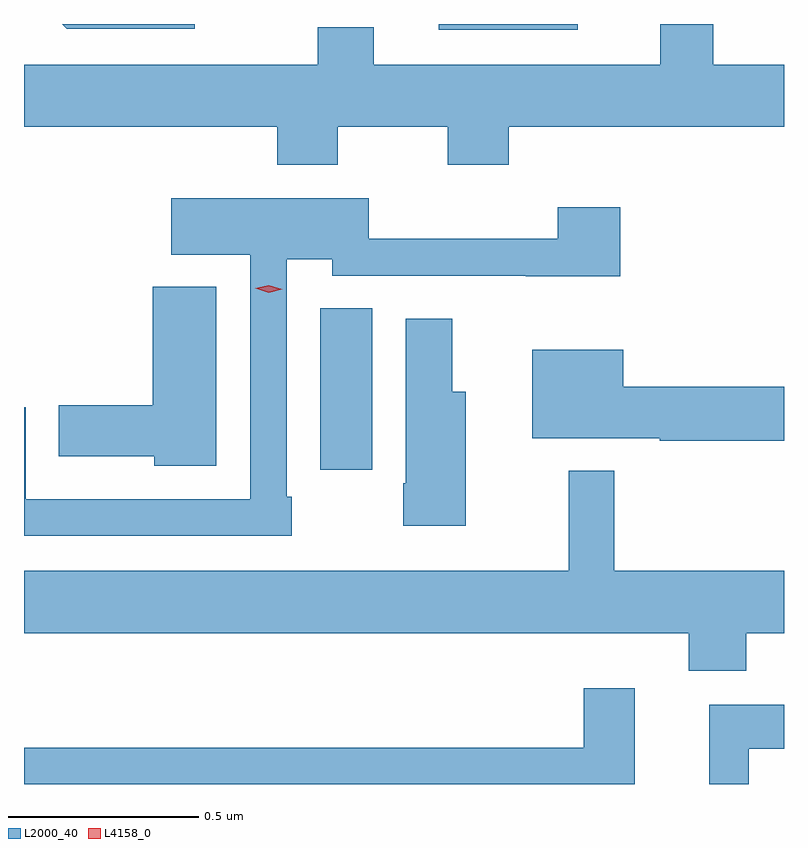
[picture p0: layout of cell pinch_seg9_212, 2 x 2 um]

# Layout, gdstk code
import gdstk
lib = gdstk.Library(unit=1e-6, precision=1e-09)
def R(c, l, rs):  # rectangles x0, y0, x1, y1
    for r in rs: c.add(gdstk.rectangle(r[:2], r[2:], *l))
def P(c, l, *ps):  # polygons
    for p in ps: c.add(gdstk.Polygon(p, *l))
L2000_40 = (2000, 40)
L4158_0 = (4158, 0)

pinch_seg9_212 = lib.new_cell('pinch_seg9_212')
R(pinch_seg9_212, L2000_40, [(623.123,1215.498,623.26,1215.923), (623.435,1216.656,623.8,1216.671)])
P(pinch_seg9_212, L2000_40, [(623.169,1216.4),(623.458,1216.4),(623.458,1216.301),(623.618,1216.301),(623.618,1216.4),(624.343,1216.4),(624.343,1216.564),(624.157,1216.564),(624.157,1216.671),(624.017,1216.671),(624.017,1216.564),(623.263,1216.564),(623.263,1216.663),(623.116,1216.663),(623.116,1216.564),(622.343,1216.564),(622.343,1216.4),(623.009,1216.4),(623.009,1216.301),(623.169,1216.301)],
  [(622.792,1216.671),(622.443,1216.671),(622.455,1216.659),(622.792,1216.659)],
  [(623.047,1215.427),(623.034,1215.427),(623.034,1216.052),(623.154,1216.052),(623.154,1216.008),(623.663,1216.008),(623.663,1216.007),(623.912,1216.007),(623.912,1216.189),(623.747,1216.189),(623.747,1216.106),(623.25,1216.106),(623.25,1216.213),(622.731,1216.213),(622.731,1216.064),(622.938,1216.064),(622.938,1215.42),(622.347,1215.42),(622.347,1215.662),(622.343,1215.662),(622.343,1215.324),(623.047,1215.324)],
  [(622.849,1215.979),(622.682,1215.979),(622.682,1215.668),(622.434,1215.668),(622.434,1215.533),(622.686,1215.533),(622.686,1215.509),(622.849,1215.509)],
  [(623.506,1215.703),(623.47,1215.703),(623.47,1215.895),(623.348,1215.895),(623.348,1215.463),(623.341,1215.463),(623.341,1215.351),(623.506,1215.351)],
  [(624.343,1215.716),(623.92,1215.716),(623.92,1215.814),(623.681,1215.814),(623.681,1215.581),(624.016,1215.581),(624.016,1215.574),(624.343,1215.574)],
  [(624.244,1215.068),(624.343,1215.068),(624.343,1215.232),(623.896,1215.232),(623.896,1215.496),(623.776,1215.496),(623.776,1215.232),(622.343,1215.232),(622.343,1215.068),(624.092,1215.068),(624.092,1214.969),(624.244,1214.969)],
  [(623.95,1214.923),(623.816,1214.923),(623.816,1214.767),(622.343,1214.767),(622.343,1214.671),(623.95,1214.671)],
  [(624.25,1214.764),(624.343,1214.764),(624.343,1214.88),(624.146,1214.88),(624.146,1214.671),(624.25,1214.671)])
P(pinch_seg9_212, L4158_0, [(622.987,1215.964),(622.952,1215.976),(622.952,1215.976),(622.952,1215.976),(622.987,1215.984),(623.022,1215.973),(623.022,1215.973),(623.022,1215.973)])

lib.write_gds('pinch_seg9_212.gds')
